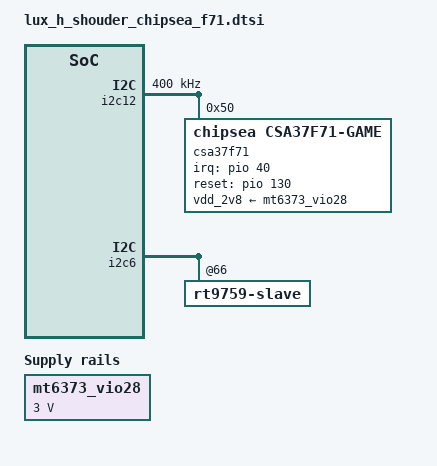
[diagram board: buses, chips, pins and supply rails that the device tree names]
&i2c12 {
	status = "okay";
	clock-frequency = <400000>;
	csa37f71@50 {
		status = "okay";
		compatible = "chipsea,csa37f71-game";
		reg = <0x50>;
		/* Interrupt && Irq-gpio */
		interrupt-parent = <&pio>;
		interrupts = <40 0x2008>;

		/* Power Config */
		vdd_2v8-supply = <&mt6373_vio28>;

		/* Other HW Resource */
		irq-gpio = <&pio 40 0x2008>;
		reset-gpio = <&pio 130 0>;
		/*wake-gpio = <&pio 98 0>;*/

		game_mode_strength_cfg = <30 20 50 40 70 60 200 130 250 160 87 87 500 400>;
	};
};
&mt6373_vio28 {
	regulator-min-microvolt = <3000000>;
	regulator-max-microvolt = <3000000>;
	regulator-always-on;
};
/*
&tlmm {
	shoulder_state_key_active:shoulder_state_key_active{
		mux {
			pins = "gpio174", "gpio176";
			function = "gpio";
		};

		config {
			pins = "gpio174", "gpio176";
			drive-strength = <6>;
			bias-pull-up = <00>;
		};
	};
};

&soc {
	gpio_keys {
		compatible = "gpio-keys";
		label = "gpio-keys";

		pinctrl-names = "default";
		pinctrl-0 = <&shoulder_state_key_active>;
		shoulder_up {
			label = "shoulder_up";
			gpios = <&tlmm 174 GPIO_ACTIVE_LOW>;
			linux,input-type = <1>;
			linux,code = <752>;
			gpio-key,wakeup;
			debounce-interval = <5>;
			linux,can-disable;
		};
		shoulder_down {
			label = "shoulder_down";
			gpios = <&tlmm 176 GPIO_ACTIVE_LOW>;
			linux,input-type = <1>;
			linux,code = <753>;
			gpio-key,wakeup;
			debounce-interval = <5>;
			linux,can-disable;
		};
	};
};
*/


&mmc1_pins_default {
    pins-cmd-dat {
        pinmux = <PINMUX_GPIO127__FUNC_MSDC1_DAT0>,
            <PINMUX_GPIO128__FUNC_MSDC1_DAT1>,
            <PINMUX_GPIO129__FUNC_MSDC1_DAT2>,
            <PINMUX_GPIO126__FUNC_MSDC1_CMD>;
        input-enable;
        drive-strength = <3>;
        bias-pull-up = <MTK_PUPD_SET_R1R0_01>;
    };

    pins-clk {
        pinmux = <PINMUX_GPIO125__FUNC_MSDC1_CLK>;
        drive-strength = <3>;
        bias-pull-down = <MTK_PUPD_SET_R1R0_10>;
    };
};

&mmc1_pins_uhs {
    pins-cmd-dat {
        pinmux = <PINMUX_GPIO127__FUNC_MSDC1_DAT0>,
            <PINMUX_GPIO128__FUNC_MSDC1_DAT1>,
            <PINMUX_GPIO129__FUNC_MSDC1_DAT2>,
            <PINMUX_GPIO126__FUNC_MSDC1_CMD>;
        input-enable;
        drive-strength = <3>;
        bias-pull-up = <MTK_PUPD_SET_R1R0_01>;
    };

    pins-clk {
        pinmux = <PINMUX_GPIO125__FUNC_MSDC1_CLK>;
        drive-strength = <3>;
        bias-pull-down = <MTK_PUPD_SET_R1R0_10>;
    };
};


&i2c6 {
	rt9759-slave@66 {
		/delete-property/ rt9759,intr-gpios;
    };
};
